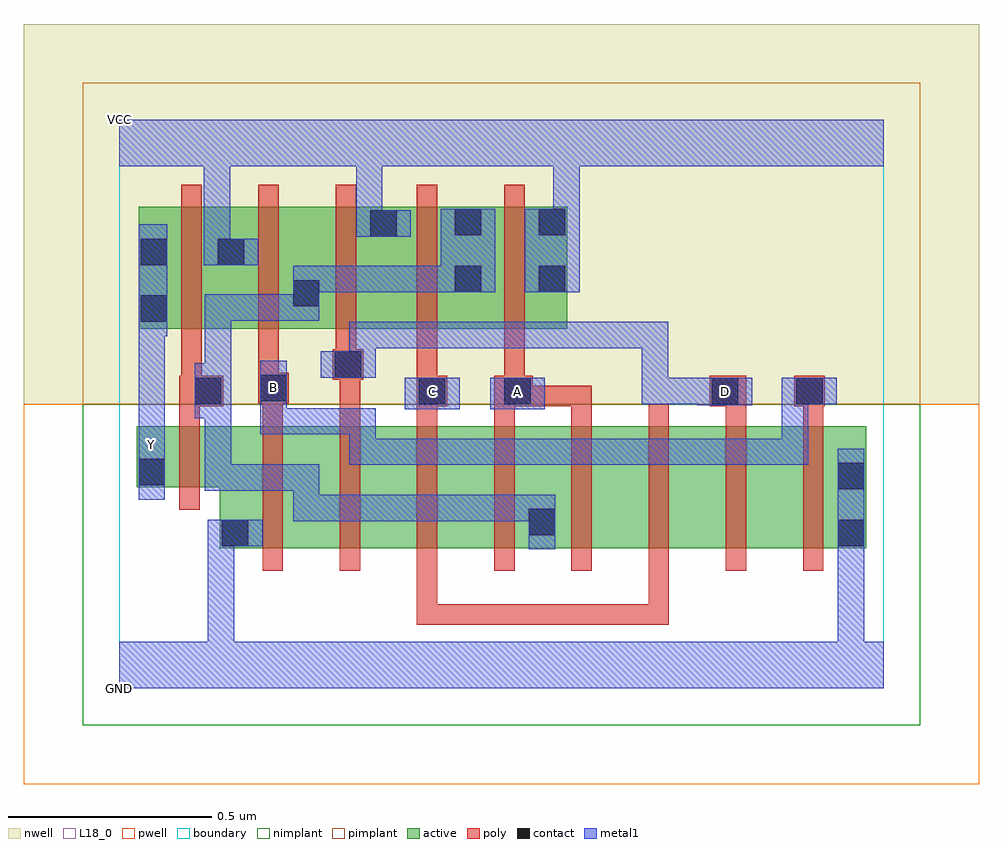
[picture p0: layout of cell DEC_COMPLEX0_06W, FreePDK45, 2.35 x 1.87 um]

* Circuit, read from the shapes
.subckt DEC_COMPLEX0_06W A B C D GND VCC Y
M1 GND n1 Y VSUBS nfet w=0.15u l=0.05u
M2 n2 B GND VSUBS nfet w=0.3u l=0.05u
M3 n3 D n2 VSUBS nfet w=0.3u l=0.05u
M4 n4 C n3 VSUBS nfet w=0.3u l=0.05u
M5 n1 A n4 VSUBS nfet w=0.3u l=0.05u
M6 n5 A n1 VSUBS nfet w=0.3u l=0.05u
M7 n6 C n5 VSUBS nfet w=0.3u l=0.05u
M8 n7 D n6 VSUBS nfet w=0.3u l=0.05u
M9 GND B n7 VSUBS nfet w=0.3u l=0.05u
M10 VCC n1 Y n8 pfet w=0.3u l=0.05u
M11 n1 B VCC n8 pfet w=0.3u l=0.05u
M12 VCC D n1 n8 pfet w=0.3u l=0.05u
M13 n1 C VCC n8 pfet w=0.3u l=0.05u
M14 VCC A n1 n8 pfet w=0.3u l=0.05u
.ends

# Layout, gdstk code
import gdstk
lib = gdstk.Library(unit=1e-6, precision=1e-09)
def R(c, l, rs):  # rectangles x0, y0, x1, y1
    for r in rs: c.add(gdstk.rectangle(r[:2], r[2:], *l))
def A(c, l, x, y, w, h, nx, ny, dx, dy):  # array of equal rectangles
    R(c, l, [(x+i*dx, y+j*dy, x+i*dx+w, y+j*dy+h) for i in range(nx) for j in range(ny)])
active = (1, 0)
pwell = (2, 0)
nwell = (3, 0)
nimplant = (4, 0)
pimplant = (5, 0)
poly = (9, 0)
contact = (10, 0)
metal1 = (11, 0)
L18_0 = (18, 0)
boundary = (235, 0)

dec_complex0_06w = lib.new_cell('DEC_COMPLEX0_06W')
R(dec_complex0_06w, active, [(0.247,0.345,0.472,0.645), (0.247,0.345,0.322,0.547), (0.472,0.345,0.662,0.645), (0.662,0.345,0.852,0.645), (0.852,0.345,1.077,0.645), (1.002,0.345,1.077,0.645), (1.002,0.345,1.232,0.645), (1.232,0.345,1.422,0.645), (1.422,0.345,1.612,0.645), (1.612,0.345,1.837,0.645), (1.762,0.345,1.837,0.645), (0.042,0.495,0.322,0.645), (0.042,0.495,0.117,0.645), (0.047,0.885,0.312,1.185), (0.047,0.885,0.122,1.115), (0.237,0.885,0.497,1.185), (0.422,0.885,0.687,1.185), (0.422,0.885,0.497,1.115), (0.612,0.885,0.895,1.185), (0.82,0.885,1.102,1.185), (1.027,0.885,1.102,1.185), (0.82,0.91,0.895,1.185), (0.237,0.945,0.312,1.185), (0.612,1.007,0.687,1.182)])
R(dec_complex0_06w, pwell, [(-0.235,-0.235,2.115,0.7)])
R(dec_complex0_06w, nwell, [(-0.235,0.7,2.115,1.635)])
R(dec_complex0_06w, nimplant, [(-0.09,-0.09,1.97,0.7)])
R(dec_complex0_06w, pimplant, [(-0.09,0.7,1.97,1.49)])
A(dec_complex0_06w, poly, 0.352, 0.29, 0.05, 0.41, 8, 1, 0.19, 0)
A(dec_complex0_06w, poly, 0.732, 0.65, 0.05, 0.095, 3, 1, 0.19, 0)
A(dec_complex0_06w, poly, 0.152, 0.83, 0.05, 0.41, 3, 1, 0.19, 0)
R(dec_complex0_06w, poly, [(0.732,0.157,0.782,0.34), (0.732,0.157,0.782,0.207), (0.732,0.157,0.782,0.207), (0.732,0.157,0.782,0.207), (0.732,0.157,1.03,0.207), (0.98,0.157,1.03,0.207), (0.98,0.157,1.03,0.207), (0.98,0.157,1.03,0.207), (0.98,0.157,1.162,0.207), (1.112,0.157,1.162,0.207), (1.112,0.157,1.352,0.207), (1.302,0.157,1.352,0.34), (1.302,0.157,1.352,0.207), (1.302,0.157,1.352,0.207), (1.302,0.157,1.352,0.207), (0.147,0.44,0.197,0.7), (0.147,0.65,0.197,0.745), (0.352,0.65,0.402,0.752), (0.542,0.65,0.592,0.81), (1.492,0.65,1.542,0.745), (1.682,0.65,1.732,0.745), (0.147,0.695,0.255,0.77), (0.732,0.695,0.807,0.77), (0.922,0.695,1.017,0.77), (0.967,0.695,1.162,0.745), (1.112,0.695,1.162,0.745), (1.112,0.695,1.162,0.745), (1.112,0.695,1.162,0.745), (1.452,0.695,1.542,0.77), (1.66,0.695,1.735,0.77), (0.342,0.702,0.417,0.777), (0.152,0.72,0.202,0.88), (0.732,0.72,0.782,0.88), (0.947,0.72,0.997,0.88), (0.342,0.727,0.392,0.88), (0.525,0.76,0.6,0.835), (0.532,0.785,0.582,0.88), (0.732,0.83,0.782,1.24), (0.947,0.83,0.997,1.24)])
R(dec_complex0_06w, contact, [(0.252,0.35,0.317,0.415), (1.767,0.35,1.832,0.415), (1.007,0.377,1.072,0.442), (1.767,0.49,1.832,0.555), (0.047,0.5,0.112,0.565), (0.185,0.7,0.25,0.765), (0.737,0.7,0.802,0.765), (0.947,0.7,1.012,0.765), (1.457,0.7,1.522,0.765), (1.665,0.7,1.73,0.765), (0.347,0.707,0.412,0.772), (0.53,0.765,0.595,0.83), (0.052,0.902,0.117,0.967), (0.427,0.94,0.492,1.005), (0.825,0.975,0.89,1.04), (1.032,0.975,1.097,1.04), (0.052,1.042,0.117,1.107), (0.242,1.042,0.307,1.107), (0.617,1.112,0.682,1.177), (0.825,1.115,0.89,1.18), (1.032,1.115,1.097,1.18)])
R(dec_complex0_06w, metal1, [(0,0,1.88,0.115), (0.217,0.05,0.282,0.115), (0.217,0.05,0.282,0.115), (0.217,0.05,0.282,0.115), (0.217,0.05,0.282,0.115), (0.217,0.05,0.282,0.415), (1.767,0.05,1.832,0.115), (1.767,0.05,1.832,0.115), (1.767,0.05,1.832,0.38), (1.767,0.315,1.832,0.38), (1.767,0.315,1.832,0.38), (1.767,0.315,1.832,0.59), (1.007,0.342,1.072,0.477), (0.217,0.35,0.352,0.415), (0.427,0.412,0.63,0.477), (0.427,0.412,0.492,0.552), (0.565,0.412,0.63,0.477), (0.565,0.412,0.63,0.477), (0.565,0.412,0.63,0.477), (0.565,0.412,0.84,0.477), (0.775,0.412,0.84,0.477), (0.775,0.412,0.84,0.477), (0.775,0.412,0.84,0.477), (0.775,0.412,1.072,0.477), (1.007,0.412,1.072,0.477), (1.007,0.412,1.072,0.477), (0.047,0.465,0.112,0.6), (0.21,0.487,0.275,0.552), (0.21,0.487,0.422,0.552), (0.21,0.487,0.275,0.73), (0.357,0.487,0.422,0.552), (0.357,0.487,0.492,0.552), (0.047,0.532,0.112,0.667), (0.047,0.535,0.112,0.6), (0.565,0.55,0.767,0.615), (0.565,0.55,0.63,0.69), (0.702,0.55,0.767,0.615), (0.702,0.55,0.767,0.615), (0.702,0.55,0.767,0.615), (0.702,0.55,1.075,0.615), (1.01,0.55,1.075,0.615), (1.01,0.55,1.075,0.615), (1.01,0.55,1.075,0.615), (1.01,0.55,1.212,0.615), (1.147,0.55,1.212,0.615), (1.147,0.55,1.35,0.615), (1.285,0.55,1.35,0.615), (1.285,0.55,1.35,0.615), (1.285,0.55,1.35,0.615), (1.285,0.55,1.487,0.615), (1.422,0.55,1.487,0.615), (1.422,0.55,1.487,0.615), (1.422,0.55,1.487,0.615), (1.422,0.55,1.695,0.615), (1.63,0.55,1.695,0.615), (1.63,0.55,1.695,0.765), (0.047,0.602,0.112,0.932), (0.347,0.625,0.412,0.69), (0.347,0.625,0.63,0.69), (0.347,0.625,0.412,0.737), (0.565,0.625,0.63,0.69), (0.565,0.625,0.63,0.69), (0.185,0.665,0.25,0.8), (0.185,0.665,0.275,0.73), (0.21,0.665,0.275,0.73), (0.21,0.665,0.275,0.73), (0.21,0.665,0.275,0.73), (0.21,0.665,0.275,0.97), (0.347,0.672,0.412,0.737), (0.347,0.672,0.412,0.737), (0.347,0.672,0.412,0.807), (0.702,0.687,0.837,0.765), (0.912,0.687,1.047,0.765), (1.422,0.697,1.557,0.765), (1.285,0.7,1.35,0.765), (1.285,0.7,1.35,0.765), (1.285,0.7,1.35,0.765), (1.285,0.7,1.487,0.765), (1.285,0.7,1.35,0.902), (1.422,0.7,1.487,0.765), (1.422,0.7,1.487,0.765), (1.63,0.7,1.695,0.765), (1.63,0.7,1.695,0.765), (1.63,0.7,1.765,0.765), (0.495,0.765,0.63,0.83), (0.565,0.765,0.63,0.83), (0.565,0.765,0.63,0.83), (0.565,0.765,0.63,0.902), (0.565,0.837,0.63,0.902), (0.565,0.837,0.767,0.902), (0.702,0.837,0.767,0.902), (0.702,0.837,0.767,0.902), (0.702,0.837,0.767,0.902), (0.702,0.837,0.977,0.902), (0.912,0.837,0.977,0.902), (0.912,0.837,1.212,0.902), (1.147,0.837,1.212,0.902), (1.147,0.837,1.212,0.902), (1.147,0.837,1.212,0.902), (1.147,0.837,1.35,0.902), (1.285,0.837,1.35,0.902), (0.047,0.867,0.117,1.142), (0.21,0.905,0.275,0.97), (0.21,0.905,0.422,0.97), (0.357,0.905,0.422,0.97), (0.357,0.905,0.492,0.97), (0.427,0.905,0.492,1.04), (0.427,0.975,0.492,1.04), (0.427,0.975,0.492,1.04), (0.427,0.975,0.63,1.04), (0.565,0.975,0.63,1.04), (0.565,0.975,0.63,1.04), (0.565,0.975,0.63,1.04), (0.565,0.975,0.817,1.04), (0.752,0.975,0.817,1.04), (0.752,0.975,0.855,1.04), (0.79,0.975,0.925,1.18), (0.997,0.975,1.132,1.18), (0.207,1.042,0.272,1.107), (0.207,1.042,0.272,1.107), (0.207,1.042,0.342,1.107), (0.207,1.042,0.272,1.35), (0.582,1.112,0.717,1.177), (0.582,1.112,0.647,1.35), (1.067,1.115,1.132,1.18), (1.067,1.115,1.132,1.18), (1.067,1.115,1.132,1.35), (0,1.285,1.88,1.4), (0.582,1.285,0.647,1.35), (0.582,1.285,0.647,1.35)])
R(dec_complex0_06w, L18_0, [(0,0,1.88,0.115), (0.217,0.05,0.282,0.115), (0.217,0.05,0.282,0.115), (0.217,0.05,0.282,0.115), (0.217,0.05,0.282,0.115), (0.217,0.05,0.282,0.415), (1.767,0.05,1.832,0.115), (1.767,0.05,1.832,0.115), (1.767,0.05,1.832,0.38), (1.767,0.315,1.832,0.38), (1.767,0.315,1.832,0.38), (1.767,0.315,1.832,0.59), (0.217,0.35,0.352,0.415), (0.047,0.465,0.112,0.6), (0.047,0.532,0.112,0.667), (0.047,0.535,0.112,0.6), (0.565,0.55,0.63,0.69), (0.565,0.55,0.767,0.615), (0.702,0.55,0.767,0.615), (0.702,0.55,0.767,0.615), (0.702,0.55,0.767,0.615), (0.702,0.55,1.075,0.615), (1.01,0.55,1.075,0.615), (1.01,0.55,1.075,0.615), (1.01,0.55,1.075,0.615), (1.01,0.55,1.212,0.615), (1.147,0.55,1.212,0.615), (1.147,0.55,1.35,0.615), (1.285,0.55,1.35,0.615), (1.285,0.55,1.35,0.615), (1.285,0.55,1.35,0.615), (1.285,0.55,1.487,0.615), (1.422,0.55,1.487,0.615), (1.422,0.55,1.487,0.615), (1.422,0.55,1.487,0.615), (1.422,0.55,1.695,0.615), (1.63,0.55,1.695,0.615), (1.63,0.55,1.695,0.765), (0.047,0.567,0.112,0.632), (0.047,0.602,0.112,0.932), (0.347,0.625,0.412,0.69), (0.347,0.625,0.412,0.737), (0.347,0.625,0.63,0.69), (0.565,0.625,0.63,0.69), (0.565,0.625,0.63,0.69), (0.347,0.672,0.412,0.807), (0.347,0.672,0.412,0.737), (0.347,0.672,0.412,0.737), (0.702,0.687,0.837,0.765), (0.912,0.687,1.047,0.765), (0.737,0.697,0.802,0.762), (0.947,0.697,1.012,0.762), (1.422,0.697,1.557,0.765), (1.457,0.697,1.522,0.762), (1.285,0.7,1.35,0.765), (1.285,0.7,1.35,0.765), (1.285,0.7,1.35,0.765), (1.285,0.7,1.487,0.765), (1.285,0.7,1.35,0.902), (1.422,0.7,1.487,0.765), (1.422,0.7,1.487,0.765), (1.63,0.7,1.695,0.765), (1.63,0.7,1.695,0.765), (1.63,0.7,1.765,0.765), (0.347,0.707,0.412,0.772), (0.495,0.765,0.63,0.83), (0.565,0.765,0.63,0.83), (0.565,0.765,0.63,0.83), (0.565,0.765,0.63,0.902), (0.565,0.837,0.63,0.902), (0.565,0.837,0.767,0.902), (0.702,0.837,0.767,0.902), (0.702,0.837,0.767,0.902), (0.702,0.837,0.767,0.902), (0.702,0.837,0.977,0.902), (0.912,0.837,0.977,0.902), (0.912,0.837,1.212,0.902), (1.147,0.837,1.212,0.902), (1.147,0.837,1.212,0.902), (1.147,0.837,1.212,0.902), (1.147,0.837,1.35,0.902), (1.285,0.837,1.35,0.902), (0.047,0.867,0.117,1.142), (0.997,0.975,1.132,1.18), (0.207,1.042,0.272,1.107), (0.207,1.042,0.272,1.107), (0.207,1.042,0.342,1.107), (0.207,1.042,0.272,1.35), (0.582,1.112,0.717,1.177), (0.582,1.112,0.647,1.35), (1.067,1.115,1.132,1.18), (1.067,1.115,1.132,1.18), (1.067,1.115,1.132,1.35), (0,1.285,1.88,1.4), (0.582,1.285,0.647,1.35), (0.582,1.285,0.647,1.35)])
R(dec_complex0_06w, boundary, [(0,0,1.88,1.4)])
dec_complex0_06w.add(gdstk.Label('A', (0.98,0.73), layer=11, texttype=0))
dec_complex0_06w.add(gdstk.Label('B', (0.38,0.74), layer=11, texttype=0))
dec_complex0_06w.add(gdstk.Label('C', (0.77,0.73), layer=11, texttype=0))
dec_complex0_06w.add(gdstk.Label('D', (1.49,0.73), layer=11, texttype=0))
dec_complex0_06w.add(gdstk.Label('Y', (0.08,0.6), layer=11, texttype=0))
dec_complex0_06w.add(gdstk.Label('VCC', (0,1.4), layer=11, texttype=0))
dec_complex0_06w.add(gdstk.Label('GND', (0,0), layer=11, texttype=0))

lib.write_gds('DEC_COMPLEX0_06W.gds')
